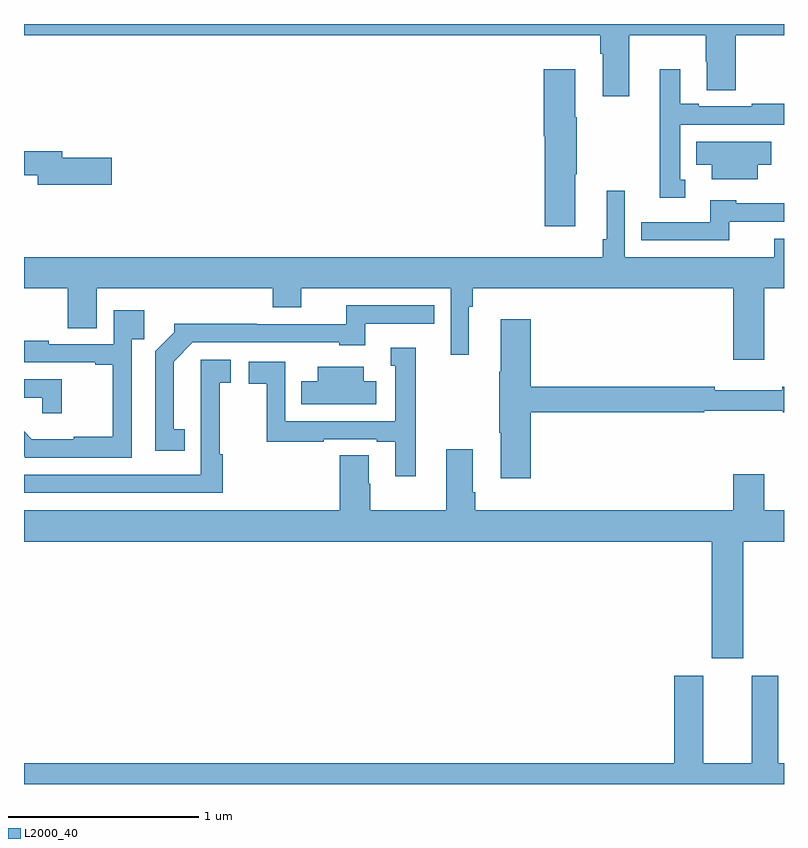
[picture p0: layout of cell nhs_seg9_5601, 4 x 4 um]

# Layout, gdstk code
import gdstk
lib = gdstk.Library(unit=1e-6, precision=1e-09)
def P(c, l, *ps):  # polygons
    for p in ps: c.add(gdstk.Polygon(p, *l))
L2000_40 = (2000, 40)

nhs_seg9_5601 = lib.new_cell('nhs_seg9_5601')
P(nhs_seg9_5601, L2000_40, [(440.185,1176.44),(440.587,1176.44),(440.587,1176.302),(440.594,1176.302),(440.594,1176.151),(440.747,1176.151),(440.747,1176.44),(441,1176.44),(441,1176.5),(437,1176.5),(437,1176.44),(440.033,1176.44),(440.033,1176.344),(440.045,1176.344),(440.045,1176.12),(440.185,1176.12)],
  [(440.479,1175.679),(440.454,1175.679),(440.454,1175.97),(441,1175.97),(441,1176.079),(440.83,1176.079),(440.83,1176.066),(440.551,1176.066),(440.551,1176.079),(440.455,1176.079),(440.455,1176.262),(440.345,1176.262),(440.345,1176.017),(440.346,1176.017),(440.346,1175.585),(440.479,1175.585)],
  [(439.9,1175.71),(439.908,1175.71),(439.908,1176.01),(439.9,1176.01),(439.9,1176.262),(439.736,1176.262),(439.736,1175.91),(439.742,1175.91),(439.742,1175.436),(439.9,1175.436)],
  [(440.863,1175.759),(440.932,1175.759),(440.932,1175.881),(440.539,1175.881),(440.539,1175.759),(440.621,1175.759),(440.621,1175.684),(440.863,1175.684)],
  [(437.461,1175.795),(437.2,1175.795),(437.2,1175.831),(437,1175.831),(437,1175.703),(437.072,1175.703),(437.072,1175.653),(437.461,1175.653)],
  [(440.896,1175.108),(441,1175.108),(441,1175.371),(440.948,1175.371),(440.948,1175.272),(440.163,1175.272),(440.163,1175.623),(440.066,1175.623),(440.066,1175.368),(440.047,1175.368),(440.047,1175.272),(437,1175.272),(437,1175.108),(437.231,1175.108),(437.231,1174.9),(437.383,1174.9),(437.383,1175.108),(438.308,1175.108),(438.308,1175.009),(438.46,1175.009),(438.46,1175.108),(439.245,1175.108),(439.245,1174.758),(439.342,1174.758),(439.342,1175.012),(439.361,1175.012),(439.361,1175.108),(440.732,1175.108),(440.732,1174.734),(440.896,1174.734)],
  [(440.712,1175.46),(441,1175.46),(441,1175.556),(440.748,1175.556),(440.748,1175.572),(440.612,1175.572),(440.612,1175.457),(440.248,1175.457),(440.248,1175.361),(440.712,1175.361)],
  [(437.846,1174.367),(437.788,1174.367),(437.788,1174.723),(437.889,1174.824),(438.66,1174.824),(438.66,1174.808),(438.796,1174.808),(438.796,1174.923),(439.16,1174.923),(439.16,1175.019),(438.697,1175.019),(438.697,1174.92),(438.224,1174.92),(438.224,1174.922),(437.79,1174.922),(437.79,1174.877),(437.691,1174.778),(437.691,1174.254),(437.846,1174.254)],
  [(437.568,1174.841),(437.633,1174.841),(437.633,1174.993),(437.472,1174.993),(437.472,1174.815),(437.131,1174.815),(437.131,1174.834),(437,1174.834),(437,1174.719),(437.375,1174.719),(437.375,1174.707),(437.467,1174.707),(437.467,1174.327),(437.261,1174.327),(437.261,1174.315),(437.042,1174.315),(437,1174.357),(437,1174.225),(437.007,1174.218),(437.568,1174.218)],
  [(439.667,1174.456),(440.579,1174.456),(440.579,1174.464),(440.994,1174.464),(440.994,1174.456),(441,1174.456),(441,1174.592),(440.992,1174.592),(440.992,1174.573),(440.636,1174.573),(440.636,1174.592),(439.667,1174.592),(439.667,1174.945),(439.508,1174.945),(439.508,1174.669),(439.501,1174.669),(439.501,1174.348),(439.508,1174.348),(439.508,1174.11),(439.667,1174.11)],
  [(439.063,1174.795),(438.929,1174.795),(438.929,1174.701),(438.954,1174.701),(438.954,1174.41),(438.375,1174.41),(438.375,1174.722),(438.183,1174.722),(438.183,1174.606),(438.277,1174.606),(438.277,1174.302),(438.578,1174.302),(438.578,1174.314),(438.857,1174.314),(438.857,1174.302),(438.953,1174.302),(438.953,1174.119),(439.063,1174.119)],
  [(438.047,1174.235),(438.03,1174.235),(438.03,1174.611),(438.088,1174.611),(438.088,1174.732),(437.93,1174.732),(437.93,1174.456),(437.931,1174.456),(437.931,1174.128),(437,1174.128),(437,1174.032),(438.047,1174.032)],
  [(438.853,1174.621),(438.787,1174.621),(438.787,1174.696),(438.545,1174.696),(438.545,1174.621),(438.46,1174.621),(438.46,1174.499),(438.853,1174.499)],
  [(437.198,1174.629),(437,1174.629),(437,1174.533),(437.097,1174.533),(437.097,1174.452),(437.198,1174.452)],
  [(440.785,1173.776),(441,1173.776),(441,1173.94),(440.896,1173.94),(440.896,1174.129),(440.732,1174.129),(440.732,1173.94),(439.376,1173.94),(439.376,1174.036),(439.363,1174.036),(439.363,1174.261),(439.223,1174.261),(439.223,1173.94),(438.822,1173.94),(438.822,1174.079),(438.814,1174.079),(438.814,1174.229),(438.662,1174.229),(438.662,1173.94),(437,1173.94),(437,1173.776),(440.621,1173.776),(440.621,1173.162),(440.785,1173.162)],
  [(441,1172.608),(440.971,1172.608),(440.971,1173.07),(440.831,1173.07),(440.831,1172.608),(440.575,1172.608),(440.575,1173.07),(440.423,1173.07),(440.423,1172.608),(437,1172.608),(437,1172.5),(441,1172.5)])

lib.write_gds('nhs_seg9_5601.gds')
